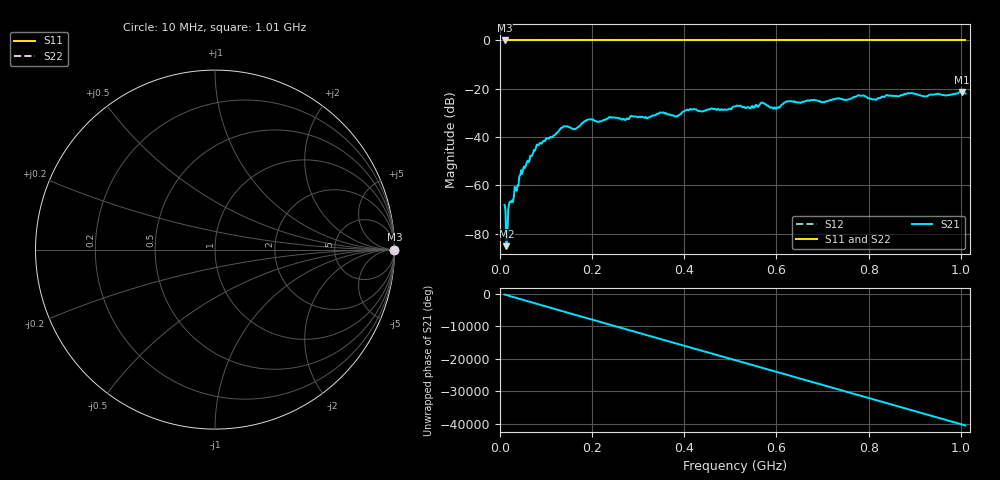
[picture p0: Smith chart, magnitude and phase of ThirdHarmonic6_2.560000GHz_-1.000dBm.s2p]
! 8/17/2025 5:17:33 AM
! C:\ANRITSUVNA\TEMP\TEMP.S2P
! CHANNEL.1
! TR.MEASUREMENT
! RAW.DATA
! RF.CORRECTION.OFF
! AVERAGING.OFF
! IF.BANDWIDTH: 5KHZ
! SWEEPTYPE:  FREQ.SWEEP(Linear)
! Reference Plane Port Info
! PORT:  PORT1  PORT2
! DISTANCE:  0  m  0  m
! TIME:  0  s  0  s
! PHASE.OFFSET:  0  deg.  0  deg.
! LOSS:  0  dB  0  dB
! REF.LOSS:  0  dB  0  dB
! REF.FREQ:  0  Hz  0  Hz
! Power Info
! POWER:  -20  dBm  -20  dBm
! EFF.POWER:  -20  dBm  -20  dBm
! SOURCE.ATTEN:  0  dB  0  dB
! TEST.ATTEN:  0  dB  0  dB
# GHZ S RI R 50.0
! FREQ.GHZ  S11RE  S11IM  S21RE  S21IM  S12RE  S12IM  S22RE  S22IM
!; PortSelection: Port_12
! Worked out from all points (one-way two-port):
!   501 points, 10 MHz to 1.01 GHz, reference 50 ohm
!   highest |S21| = -21.34 dB at 1.002 GHz (marker M1); lowest = -85.1 dB at 14 MHz (marker M2)
!   lowest |S11| = 0.0 dB at 10 MHz (marker M3)
!   |S11| at or under -10 dB: nowhere
!   |S22| runs from 0.0 to 0.0 dB; largest |S21 - S12| = 1.1
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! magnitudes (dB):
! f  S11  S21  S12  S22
! 10 MHz  0.0  -68.0  0.0  0.0
! 14 MHz  0.0  -85.1  0.0  0.0
! 18 MHz  0.0  -69.7  0.0  0.0
! 22 MHz  0.0  -66.6  0.0  0.0
! 46 MHz  0.0  -53.6  0.0  0.0
! 82 MHz  0.0  -43.2  0.0  0.0
! 136 MHz  0.0  -36.0  0.0  0.0
! 162 MHz  0.0  -36.8  0.0  0.0
! 178 MHz  0.0  -34.2  0.0  0.0
! 344 MHz  0.0  -30.4  0.0  0.0
! 382 MHz  0.0  -31.4  0.0  0.0
! 410 MHz  0.0  -28.8  0.0  0.0
! 510 MHz  0.0  -27.2  0.0  0.0
! 570 MHz  0.0  -25.7  0.0  0.0
! 596 MHz  0.0  -27.7  0.0  0.0
! 624 MHz  0.0  -25.3  0.0  0.0
! 678 MHz  0.0  -24.7  0.0  0.0
! 780 MHz  0.0  -22.8  0.0  0.0
! 814 MHz  0.0  -24.4  0.0  0.0
! 844 MHz  0.0  -22.9  0.0  0.0
! 1.002 GHz  0.0  -21.3  0.0  0.0
! 1.01 GHz  0.0  -21.9  0.0  0.0
